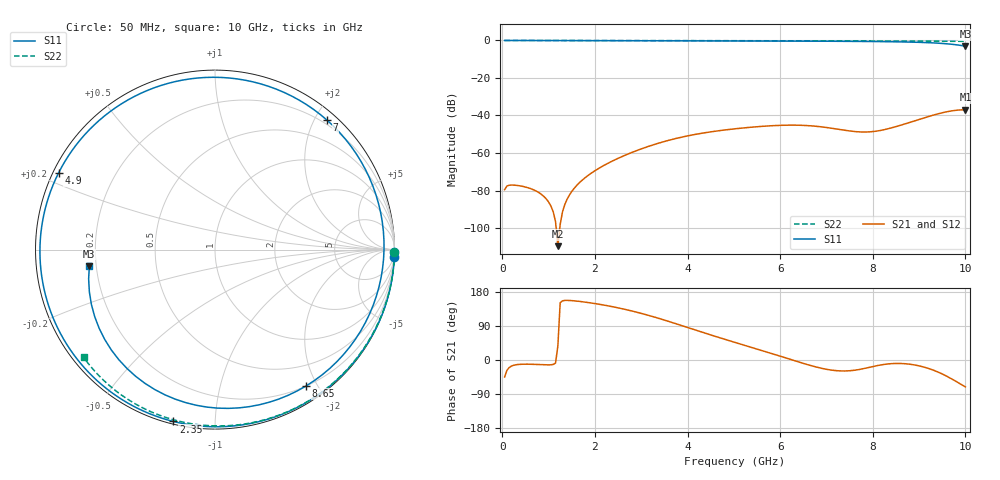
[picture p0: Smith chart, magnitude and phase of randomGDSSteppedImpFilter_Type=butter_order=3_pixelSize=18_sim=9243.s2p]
! freq	dB(S11)	phase(S11)	dB(S12)	phase(S12)
!  dB(S21)	phase(S21)	dB(S22)	phase(S22)
!S-par simulation data
#  GHz  S  DB  R 50
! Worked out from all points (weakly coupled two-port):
!   200 points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, 50 MHz to 10 GHz, reference 50 ohm
!   highest |S21| = -36.96 dB at 10 GHz (marker M1); lowest = -109.7 dB at 1.2 GHz (marker M2)
!   lowest |S11| = -3.0 dB at 10 GHz (marker M3), VSWR 5.80, Z = 8.66 - j3.13 ohm
!   |S11| at or under -10 dB: nowhere
!   |S22| runs from -0.5 to 0.0 dB; largest |S21 - S12| = 0
!   S11 on the Smith chart (normalised r, x): 50 MHz: 0, -49; 2.35 GHz: 0.01, -0.79; 4.9 GHz: 0.02, +0.23; 7 GHz: 0.14, +2.19; 8.65 GHz: 0.20, -1.85; 10 GHz: 0.17, -0.06
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0.05  -0.00 -2.3  -79.56 -45.0  -79.56 -45.0  -0.00 -0.8
0.2  -0.00 -9.3  -77.08 -15.9  -77.08 -15.9  -0.00 -3.3
0.7  -0.02 -32.4  -79.90 -11.5  -79.90 -11.5  -0.01 -11.4
1.2  -0.06 -54.9  -109.66 37.1  -109.66 37.1  -0.02 -19.4
1.5  -0.08 -68.0  -80.51 156.7  -80.51 156.7  -0.03 -24.2
1.75  -0.10 -78.8  -73.94 153.4  -73.94 153.4  -0.04 -28.1
2.35  -0.13 -103.7  -64.61 141.4  -64.61 141.4  -0.05 -37.5
3.4  -0.17 -145.5  -54.56 109.1  -54.56 109.1  -0.07 -53.5
4.15  -0.21 -175.1  -50.15 79.9  -50.15 79.9  -0.09 -64.5
4.9  -0.26 153.9  -47.44 51.0  -47.44 51.0  -0.11 -75.2
5.05  -0.27 147.5  -47.02 45.5  -47.02 45.5  -0.12 -77.3
5.95  -0.33 105.8  -45.30 12.1  -45.30 12.1  -0.15 -89.6
6.7  -0.39 66.2  -45.58 -16.0  -45.58 -16.0  -0.19 -99.5
7  -0.41 49.0  -46.40 -24.5  -46.40 -24.5  -0.21 -103.3
7.7  -0.50 6.4  -48.73 -25.2  -48.73 -25.2  -0.26 -112.3
8  -0.56 -12.8  -48.58 -17.4  -48.58 -17.4  -0.28 -116.0
8.35  -0.66 -35.9  -46.95 -10.1  -46.95 -10.1  -0.31 -120.4
8.65  -0.79 -56.3  -44.84 -9.4  -44.84 -9.4  -0.33 -124.1
9  -1.00 -81.5  -42.12 -15.4  -42.12 -15.4  -0.37 -128.4
9.35  -1.35 -109.1  -39.51 -28.8  -39.51 -28.8  -0.40 -132.7
9.7  -2.02 -140.7  -37.55 -49.6  -37.55 -49.6  -0.44 -137.0
10  -3.03 -172.6  -36.96 -71.0  -36.96 -71.0  -0.48 -140.7
